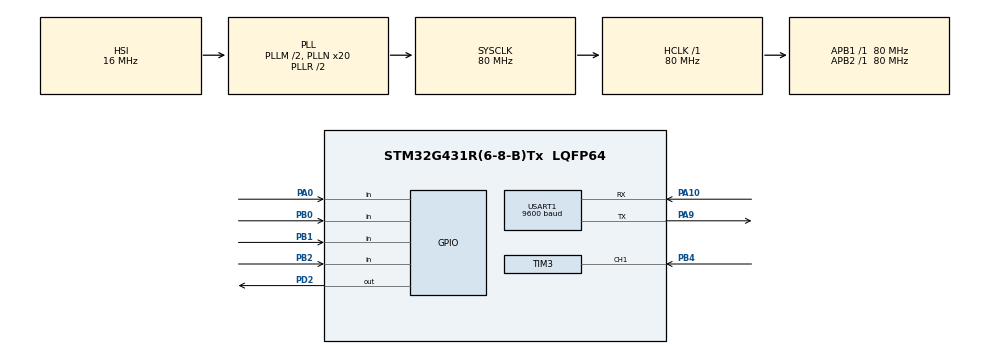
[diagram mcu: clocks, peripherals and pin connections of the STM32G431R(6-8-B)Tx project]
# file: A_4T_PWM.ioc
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Mcu.Family=STM32G4
Mcu.Name=STM32G431R(6-8-B)Tx
Mcu.Package=LQFP64
NVIC.PriorityGroup=NVIC_PRIORITYGROUP_4
NVIC.TIM3_IRQn=true\:0\:0\:false\:false\:true\:true\:true\:true
NVIC.USART1_IRQn=true\:0\:0\:false\:false\:true\:true\:true\:true
PA0.Signal=GPIO_Input
PA10.Mode=Asynchronous
PA10.Signal=USART1_RX
PA13.Mode=Serial_Wire
PA13.Signal=SYS_JTMS-SWDIO
PA14.Mode=Serial_Wire
PA14.Signal=SYS_JTCK-SWCLK
PA9.Mode=Asynchronous
PA9.Signal=USART1_TX
PB0.Signal=GPIO_Input
PB1.Signal=GPIO_Input
PB2.Signal=GPIO_Input
PB4.Signal=S_TIM3_CH1
PD2.Signal=GPIO_Output
PF0-OSC_IN.Mode=HSE-External-Oscillator
PF0-OSC_IN.Signal=RCC_OSC_IN
PF1-OSC_OUT.Mode=HSE-External-Oscillator
PF1-OSC_OUT.Signal=RCC_OSC_OUT
ProjectManager.HeapSize=0x200
ProjectManager.StackSize=0x400
ProjectManager.TargetToolchain=MDK-ARM V5.32
RCC.ADC12Freq_Value=80000000
RCC.AHBFreq_Value=80000000
RCC.APB1Freq_Value=80000000
RCC.APB1TimFreq_Value=80000000
RCC.APB2Freq_Value=80000000
RCC.APB2TimFreq_Value=80000000
RCC.CortexFreq_Value=80000000
RCC.EXTERNAL_CLOCK_VALUE=12288000
RCC.HCLKFreq_Value=80000000
RCC.HSE_VALUE=24000000
RCC.HSI48_VALUE=48000000
RCC.HSI_VALUE=16000000
RCC.LSE_VALUE=32768
RCC.PLLM=RCC_PLLM_DIV2
RCC.PLLN=20
RCC.SYSCLKFreq_VALUE=80000000
RCC.SYSCLKSource=RCC_SYSCLKSOURCE_PLLCLK
RCC.USBFreq_Value=80000000
RCC.VCOOutputFreq_Value=160000000
SH.S_TIM3_CH1.0=TIM3_CH1,Input_Capture1_from_TI1
SH.S_TIM3_CH1.1=TIM3_CH1
TIM3.AutoReloadPreload=TIM_AUTORELOAD_PRELOAD_ENABLE
TIM3.Channel-Input_Capture1_from_TI1=TIM_CHANNEL_1
TIM3.Channel-Input_Capture2_from_TI1_63=TIM_CHANNEL_2
TIM3.ICPolarity_CH2=TIM_INPUTCHANNELPOLARITY_FALLING
TIM3.Prescaler=80-1
USART1.BaudRate=9600
USART1.VirtualMode-Asynchronous=VM_ASYNC
VP_SYS_VS_DBSignals.Mode=DisableDeadBatterySignals
VP_TIM3_VS_ClockSourceINT.Mode=Internal
VP_TIM3_VS_indirect_ch1.Mode=Input_Capture2_from_TI1_63
board=custom

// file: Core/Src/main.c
/* USER CODE BEGIN Header */
/**
  ******************************************************************************
  * @file           : main.c
  * @brief          : Main program body
  ******************************************************************************
  * @attention
  *
  * Copyright (c) 2024 STMicroelectronics.
  * All rights reserved.
  *
  * This software is licensed under terms that can be found in the LICENSE file
  * in the root directory of this software component.
  * If no LICENSE file comes with this software, it is provided AS-IS.
  *
  ******************************************************************************
  */
/* USER CODE END Header */
#include "main.h"
#include "tim.h"
#include "usart.h"
#include "gpio.h"

/* USER CODE BEGIN Includes */
#include "lcd.h"
#include "string.h"
#include "stdio.h"
#include "key.h"
/* USER CODE END Includes */

/* USER CODE BEGIN PV */
__IO uint32_t lcd_uwtick;
__IO uint32_t key_uwtick;
uint8_t lcd_str[22];

uint8_t key_val,key_up,key_down,key_old;

int f=1000;

int pwm1_count,pwm2_count;
float duty;

/* USER CODE END PV */

void SystemClock_Config(void);
/* USER CODE BEGIN PFP */

void lcd_proc(void);
void key_proc(void);

/* USER CODE END PFP */

int main(void)
{

  /* MCU Configuration--------------------------------------------------------*/

  /* Reset of all peripherals, Initializes the Flash interface and the Systick. */
  HAL_Init();

  /* Configure the system clock */
  SystemClock_Config();

  /* Initialize all configured peripherals */
  MX_GPIO_Init();
  MX_TIM3_Init();
  MX_USART1_UART_Init();
  /* USER CODE BEGIN 2 */
  LCD_Init();
  LCD_Clear(Black);
  LCD_SetBackColor(Black);
  LCD_SetTextColor(White);

//  HAL_TIM_PWM_Start(&htim3,TIM_CHANNEL_2);
	HAL_TIM_Base_Start_IT(&htim3);
	HAL_TIM_IC_Start_IT(&htim3,TIM_CHANNEL_1);
	HAL_TIM_IC_Start_IT(&htim3,TIM_CHANNEL_2);

  /* USER CODE END 2 */

  /* Infinite loop */
  /* USER CODE BEGIN WHILE */
  while (1)
  {
//	  key_proc();
	  lcd_proc();

    /* USER CODE END WHILE */

  }
}

void SystemClock_Config(void)
{
  RCC_OscInitTypeDef RCC_OscInitStruct = {0};
  RCC_ClkInitTypeDef RCC_ClkInitStruct = {0};

  /** Configure the main internal regulator output voltage
  */
  HAL_PWREx_ControlVoltageScaling(PWR_REGULATOR_VOLTAGE_SCALE1);

  /** Initializes the RCC Oscillators according to the specified parameters
  * in the RCC_OscInitTypeDef structure.
  */
  RCC_OscInitStruct.OscillatorType = RCC_OSCILLATORTYPE_HSI;
  RCC_OscInitStruct.HSIState = RCC_HSI_ON;
  RCC_OscInitStruct.HSICalibrationValue = RCC_HSICALIBRATION_DEFAULT;
  RCC_OscInitStruct.PLL.PLLState = RCC_PLL_ON;
  RCC_OscInitStruct.PLL.PLLSource = RCC_PLLSOURCE_HSI;
  RCC_OscInitStruct.PLL.PLLM = RCC_PLLM_DIV2;
  RCC_OscInitStruct.PLL.PLLN = 20;
  RCC_OscInitStruct.PLL.PLLP = RCC_PLLP_DIV2;
  RCC_OscInitStruct.PLL.PLLQ = RCC_PLLQ_DIV2;
  RCC_OscInitStruct.PLL.PLLR = RCC_PLLR_DIV2;
  if (HAL_RCC_OscConfig(&RCC_OscInitStruct) != HAL_OK)
  {
    Error_Handler();
  }

  /** Initializes the CPU, AHB and APB buses clocks
  */
  RCC_ClkInitStruct.ClockType = RCC_CLOCKTYPE_HCLK|RCC_CLOCKTYPE_SYSCLK
                              |RCC_CLOCKTYPE_PCLK1|RCC_CLOCKTYPE_PCLK2;
  RCC_ClkInitStruct.SYSCLKSource = RCC_SYSCLKSOURCE_PLLCLK;
  RCC_ClkInitStruct.AHBCLKDivider = RCC_SYSCLK_DIV1;
  RCC_ClkInitStruct.APB1CLKDivider = RCC_HCLK_DIV1;
  RCC_ClkInitStruct.APB2CLKDivider = RCC_HCLK_DIV1;

  if (HAL_RCC_ClockConfig(&RCC_ClkInitStruct, FLASH_LATENCY_2) != HAL_OK)
  {
    Error_Handler();
  }
}

/* USER CODE BEGIN 4 */
void HAL_TIM_IC_CaptureCallback(TIM_HandleTypeDef *htim)
{
//	if(htim->Instance==TIM3)
//	{
//		if(htim->Channel == HAL_TIM_ACTIVE_CHANNEL_1)
//		{
//			pwm1_count = HAL_TIM_ReadCapturedValue(htim,TIM_CHANNEL_1)+1;
//			duty = (float)pwm2_count/pwm1_count;
//		}
//		else if(htim->Channel == HAL_TIM_ACTIVE_CHANNEL_2)
//		{
//			pwm2_count = HAL_TIM_ReadCapturedValue(htim,TIM_CHANNEL_2)+1;
//		}
//	}

	if(htim->Instance==TIM3)
	{
		if(htim->Channel==HAL_TIM_ACTIVE_CHANNEL_1)
		{
			pwm1_count=HAL_TIM_ReadCapturedValue(htim,TIM_CHANNEL_1)+1;
			pwm2_count=HAL_TIM_ReadCapturedValue(htim,TIM_CHANNEL_2)+1;
			duty=(float)pwm2_count/pwm1_count;
			__HAL_TIM_SetCounter(htim,0);
		}
//	else if(htim->Channel==HAL_TIM_ACTIVE_CHANNEL_2)
//	{
//
////		pwm2_count=HAL_TIM_ReadCapturedValue(htim,TIM_CHANNEL_2)+1;
////		__HAL_TIM_SetCounter(htim,0);
//	}
	}
}

void lcd_proc(void)
{
	if(uwTick-lcd_uwtick<100) return;
	lcd_uwtick = uwTick;

	sprintf((char*)lcd_str,"        DATA   ");
	LCD_DisplayStringLine(Line3,lcd_str);
	sprintf((char*)lcd_str,"     PR39:%05dHz      ",1000000/pwm1_count);
	LCD_DisplayStringLine(Line4,lcd_str);
	sprintf((char*)lcd_str,"     duty:%4.2f      ",duty*100);
	LCD_DisplayStringLine(Line5,lcd_str);
	sprintf((char*)lcd_str,"     PR39:%05dHz      ",1000000/pwm2_count);
	LCD_DisplayStringLine(Line6,lcd_str);

}
void key_proc(void)
{
	if(uwTick-key_uwtick<50) return;
	key_uwtick = uwTick;

	key_val = key_scan();
	key_down = key_val&(key_val^key_old);
	key_up = key_val&(key_val^key_old);
	key_old = key_val;

//	if(key_down==1)
//	{
//		//80 000 000/80/ARR = 1000  ARR=1000
//		//80 000 000/80/500 = 2000
//		//80 000 000/80/    = 3000
//		if(f<10000)
//		{
//			f+=1000;
//
//		}
//		else
//		{
//			f=1000;
//		}
//		__HAL_TIM_SET_AUTORELOAD(&htim3,1.0*1000000/f);
//		__HAL_TIM_SET_COMPARE(&htim3,TIM_CHANNEL_2,0.1*1000000/f);
//	}

//	if(key_down)
//	{
//		sprintf((char*)lcd_str,"key: %d",key_down);
//	LCD_DisplayStringLine(Line1,lcd_str);
//	}

}
/* USER CODE END 4 */

void Error_Handler(void)
{
  __disable_irq();
  while (1)
  {
  }
}
